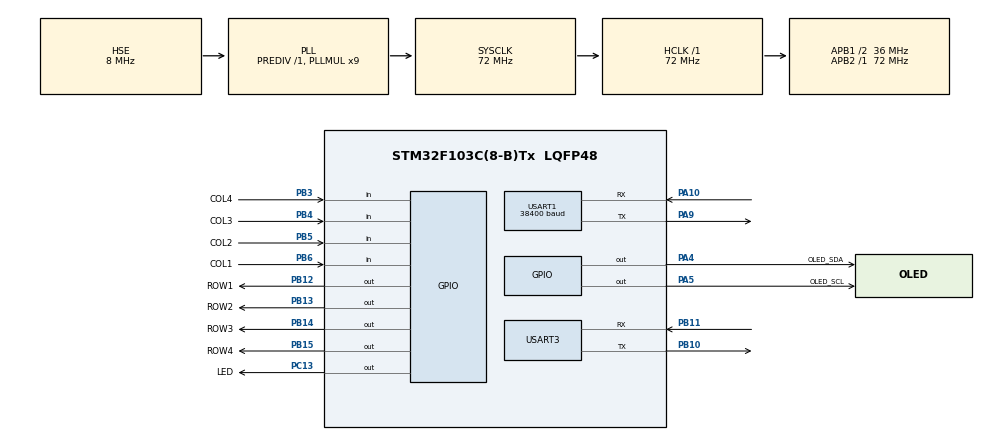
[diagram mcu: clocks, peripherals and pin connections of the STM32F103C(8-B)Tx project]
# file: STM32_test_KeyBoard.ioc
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Mcu.Family=STM32F1
Mcu.Name=STM32F103C(8-B)Tx
Mcu.Package=LQFP48
NVIC.PriorityGroup=NVIC_PRIORITYGROUP_4
PA10.Mode=Asynchronous
PA10.Signal=USART1_RX
PA13.Mode=Serial_Wire
PA13.Signal=SYS_JTMS-SWDIO
PA14.Mode=Serial_Wire
PA14.Signal=SYS_JTCK-SWCLK
PA4.GPIO_Label=OLED_SDA
PA4.GPIO_ModeDefaultOutputPP=GPIO_MODE_OUTPUT_OD
PA4.GPIO_PuPd=GPIO_PULLUP
PA4.GPIO_Speed=GPIO_SPEED_FREQ_MEDIUM
PA4.Signal=GPIO_Output
PA5.GPIO_Label=OLED_SCL
PA5.GPIO_ModeDefaultOutputPP=GPIO_MODE_OUTPUT_OD
PA5.GPIO_PuPd=GPIO_PULLUP
PA5.GPIO_Speed=GPIO_SPEED_FREQ_MEDIUM
PA5.Signal=GPIO_Output
PA9.Mode=Asynchronous
PA9.Signal=USART1_TX
PB10.Mode=Asynchronous
PB10.Signal=USART3_TX
PB11.Mode=Asynchronous
PB11.Signal=USART3_RX
PB12.GPIO_Label=ROW1
PB12.Signal=GPIO_Output
PB13.GPIO_Label=ROW2
PB13.Signal=GPIO_Output
PB14.GPIO_Label=ROW3
PB14.Signal=GPIO_Output
PB15.GPIO_Label=ROW4
PB15.Signal=GPIO_Output
PB3.GPIO_Label=COL4
PB3.GPIO_PuPd=GPIO_PULLDOWN
PB3.Signal=GPIO_Input
PB4.GPIO_Label=COL3
PB4.GPIO_PuPd=GPIO_PULLDOWN
PB4.Signal=GPIO_Input
PB5.GPIO_Label=COL2
PB5.GPIO_PuPd=GPIO_PULLDOWN
PB5.Signal=GPIO_Input
PB6.GPIO_Label=COL1
PB6.GPIO_PuPd=GPIO_PULLDOWN
PB6.Signal=GPIO_Input
PC13-TAMPER-RTC.GPIO_Label=LED
PC13-TAMPER-RTC.GPIO_Speed=GPIO_SPEED_FREQ_MEDIUM
PC13-TAMPER-RTC.PinState=GPIO_PIN_SET
PC13-TAMPER-RTC.Signal=GPIO_Output
PD0-OSC_IN.Mode=HSE-External-Oscillator
PD0-OSC_IN.Signal=RCC_OSC_IN
PD1-OSC_OUT.Mode=HSE-External-Oscillator
PD1-OSC_OUT.Signal=RCC_OSC_OUT
ProjectManager.HeapSize=0x200
ProjectManager.StackSize=0x400
ProjectManager.TargetToolchain=MDK-ARM V5.32
RCC.AHBFreq_Value=72000000
RCC.APB1CLKDivider=RCC_HCLK_DIV2
RCC.APB1Freq_Value=36000000
RCC.APB1TimFreq_Value=72000000
RCC.APB2Freq_Value=72000000
RCC.APB2TimFreq_Value=72000000
RCC.HCLKFreq_Value=72000000
RCC.PLLMUL=RCC_PLL_MUL9
RCC.PLLSourceVirtual=RCC_PLLSOURCE_HSE
RCC.SYSCLKFreq_VALUE=72000000
RCC.SYSCLKSource=RCC_SYSCLKSOURCE_PLLCLK
RCC.USBFreq_Value=72000000
USART1.BaudRate=38400
USART1.VirtualMode=VM_ASYNC
USART3.VirtualMode=VM_ASYNC
board=custom

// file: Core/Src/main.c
/* USER CODE BEGIN Header */
/**
  ******************************************************************************
  * @file           : main.c
  * @brief          : Main program body
  ******************************************************************************
  * @attention
  *
  * Copyright (c) 2023 STMicroelectronics.
  * All rights reserved.
  *
  * This software is licensed under terms that can be found in the LICENSE file
  * in the root directory of this software component.
  * If no LICENSE file comes with this software, it is provided AS-IS.
  *
  ******************************************************************************
  */
/* USER CODE END Header */
#include "main.h"
#include "usart.h"
#include "gpio.h"

/* USER CODE BEGIN Includes */
#include "KeyBoard.h"
#include "OLED_IIC.h"
#include "stdio.h"
/* USER CODE END Includes */

/* USER CODE BEGIN PD */

// 串口重定向，便于使用printf( )函数
unsigned char usart_flag = 0;
int fputc(int ch, FILE *f)
{
  if(usart_flag == 3)
	  HAL_UART_Transmit(&huart3, (uint8_t *)&ch, 1, 0xffff);
	else if (usart_flag == 1)
    HAL_UART_Transmit(&huart1, (uint8_t *)&ch, 1, 0xffff);
  return ch;
}
/* USER CODE END PD */

void SystemClock_Config(void);

/* USER CODE BEGIN 0 */
extern unsigned char result[4][4];
/* USER CODE END 0 */

int main(void)
{

  /* MCU Configuration--------------------------------------------------------*/

  /* Reset of all peripherals, Initializes the Flash interface and the Systick. */
  HAL_Init();

  /* Configure the system clock */
  SystemClock_Config();

  /* Initialize all configured peripherals */
  MX_GPIO_Init();
  MX_USART1_UART_Init();
  MX_USART3_UART_Init();
  /* USER CODE BEGIN 2 */
  OLED_Init();
  KeyBoard_Init();
  HAL_Delay(100);
  OLED_ShowString(2,3,"Init Succeed");
  // OLED_Fill();
  HAL_Delay(500);
  OLED_Clear();
  SetCom();
  HAL_Delay(500);
  /* USER CODE END 2 */

  /* Infinite loop */
  while (1)
  {

    /* USER CODE BEGIN 3 */
    KeyBoard_Scan();
    for(unsigned char i = 0;i < 4;i++)
    {
        for(unsigned char j = 0;j < 4;j++)
        {
            if(result[i][j] == 1)
            {
                // 该按键开关被按下，需要计算引脚编�?
                HAL_GPIO_WritePin(LED_GPIO_Port,LED_Pin,GPIO_PIN_RESET);
                unsigned char pin_ID = i * 4 + j + 1;
                printf("The Key:%d is pull down\r\n",pin_ID);
                OLED_ShowString(2,5,"Key:");
                OLED_ShowString(2,9,"   ");
                OLED_ShowNum(2,9,pin_ID);
            }
            HAL_GPIO_WritePin(LED_GPIO_Port,LED_Pin,GPIO_PIN_SET);
        }
    }
    HAL_Delay(50);
  }
  /* USER CODE END 3 */
}

void SystemClock_Config(void)
{
  RCC_OscInitTypeDef RCC_OscInitStruct = {0};
  RCC_ClkInitTypeDef RCC_ClkInitStruct = {0};

  /** Initializes the RCC Oscillators according to the specified parameters
  * in the RCC_OscInitTypeDef structure.
  */
  RCC_OscInitStruct.OscillatorType = RCC_OSCILLATORTYPE_HSE;
  RCC_OscInitStruct.HSEState = RCC_HSE_ON;
  RCC_OscInitStruct.HSEPredivValue = RCC_HSE_PREDIV_DIV1;
  RCC_OscInitStruct.HSIState = RCC_HSI_ON;
  RCC_OscInitStruct.PLL.PLLState = RCC_PLL_ON;
  RCC_OscInitStruct.PLL.PLLSource = RCC_PLLSOURCE_HSE;
  RCC_OscInitStruct.PLL.PLLMUL = RCC_PLL_MUL9;
  if (HAL_RCC_OscConfig(&RCC_OscInitStruct) != HAL_OK)
  {
    Error_Handler();
  }

  /** Initializes the CPU, AHB and APB buses clocks
  */
  RCC_ClkInitStruct.ClockType = RCC_CLOCKTYPE_HCLK|RCC_CLOCKTYPE_SYSCLK
                              |RCC_CLOCKTYPE_PCLK1|RCC_CLOCKTYPE_PCLK2;
  RCC_ClkInitStruct.SYSCLKSource = RCC_SYSCLKSOURCE_PLLCLK;
  RCC_ClkInitStruct.AHBCLKDivider = RCC_SYSCLK_DIV1;
  RCC_ClkInitStruct.APB1CLKDivider = RCC_HCLK_DIV2;
  RCC_ClkInitStruct.APB2CLKDivider = RCC_HCLK_DIV1;

  if (HAL_RCC_ClockConfig(&RCC_ClkInitStruct, FLASH_LATENCY_2) != HAL_OK)
  {
    Error_Handler();
  }
}

void Error_Handler(void)
{
  __disable_irq();
  while (1)
  {
  }
}
